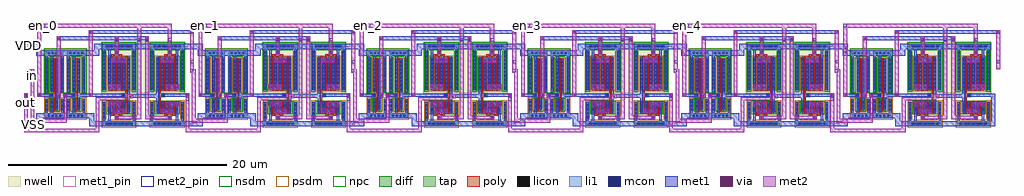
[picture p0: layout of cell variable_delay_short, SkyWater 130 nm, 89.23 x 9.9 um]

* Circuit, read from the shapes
.subckt variable_delay_short VDD VSS en_0 en_1 en_2 en_3 en_4 in out
XM1 variable_delay_unit_5/tristate_inverter_0/en en_0 VSS VSS sky130_fd_pr__nfet_01v8 w=1 l=0.15
XM2 variable_delay_unit_5/forward in VSS VSS sky130_fd_pr__nfet_01v8 w=1 l=0.15
XM3 n1 en_0 VSS VSS sky130_fd_pr__nfet_01v8 w=1 l=0.15 m=3
XM4 out variable_delay_unit_5/forward n1 VSS sky130_fd_pr__nfet_01v8 w=1 l=0.15
XM5 n2 variable_delay_unit_5/back out VSS sky130_fd_pr__nfet_01v8 w=1 l=0.15
XM6 VSS variable_delay_unit_5/tristate_inverter_0/en n2 VSS sky130_fd_pr__nfet_01v8 w=1 l=0.15 m=3
XM7 variable_delay_unit_4/tristate_inverter_0/en en_1 VSS VSS sky130_fd_pr__nfet_01v8 w=1 l=0.15
XM8 variable_delay_unit_4/forward variable_delay_unit_5/forward VSS VSS sky130_fd_pr__nfet_01v8 w=1 l=0.15
XM9 n3 en_1 VSS VSS sky130_fd_pr__nfet_01v8 w=1 l=0.15 m=3
XM10 variable_delay_unit_5/back variable_delay_unit_4/forward n3 VSS sky130_fd_pr__nfet_01v8 w=1 l=0.15
XM11 n4 variable_delay_unit_4/back variable_delay_unit_5/back VSS sky130_fd_pr__nfet_01v8 w=1 l=0.15
XM12 VSS variable_delay_unit_4/tristate_inverter_0/en n4 VSS sky130_fd_pr__nfet_01v8 w=1 l=0.15 m=3
XM13 variable_delay_unit_3/tristate_inverter_0/en en_2 VSS VSS sky130_fd_pr__nfet_01v8 w=1 l=0.15
XM14 variable_delay_unit_3/forward variable_delay_unit_4/forward VSS VSS sky130_fd_pr__nfet_01v8 w=1 l=0.15
XM15 n5 en_2 VSS VSS sky130_fd_pr__nfet_01v8 w=1 l=0.15 m=3
XM16 variable_delay_unit_4/back variable_delay_unit_3/forward n5 VSS sky130_fd_pr__nfet_01v8 w=1 l=0.15
XM17 n6 variable_delay_unit_3/back variable_delay_unit_4/back VSS sky130_fd_pr__nfet_01v8 w=1 l=0.15
XM18 VSS variable_delay_unit_3/tristate_inverter_0/en n6 VSS sky130_fd_pr__nfet_01v8 w=1 l=0.15 m=3
XM19 variable_delay_unit_2/tristate_inverter_0/en en_3 VSS VSS sky130_fd_pr__nfet_01v8 w=1 l=0.15
XM20 variable_delay_unit_2/forward variable_delay_unit_3/forward VSS VSS sky130_fd_pr__nfet_01v8 w=1 l=0.15
XM21 n7 en_3 VSS VSS sky130_fd_pr__nfet_01v8 w=1 l=0.15 m=3
XM22 variable_delay_unit_3/back variable_delay_unit_2/forward n7 VSS sky130_fd_pr__nfet_01v8 w=1 l=0.15
XM23 n8 variable_delay_unit_2/back variable_delay_unit_3/back VSS sky130_fd_pr__nfet_01v8 w=1 l=0.15
XM24 VSS variable_delay_unit_2/tristate_inverter_0/en n8 VSS sky130_fd_pr__nfet_01v8 w=1 l=0.15 m=3
XM25 variable_delay_unit_1/tristate_inverter_0/en en_4 VSS VSS sky130_fd_pr__nfet_01v8 w=1 l=0.15
XM26 variable_delay_unit_1/forward variable_delay_unit_2/forward VSS VSS sky130_fd_pr__nfet_01v8 w=1 l=0.15
XM27 n9 en_4 VSS VSS sky130_fd_pr__nfet_01v8 w=1 l=0.15 m=3
XM28 variable_delay_unit_2/back variable_delay_unit_1/forward n9 VSS sky130_fd_pr__nfet_01v8 w=1 l=0.15
XM29 n10 variable_delay_unit_1/back variable_delay_unit_2/back VSS sky130_fd_pr__nfet_01v8 w=1 l=0.15
XM30 VSS variable_delay_unit_1/tristate_inverter_0/en n10 VSS sky130_fd_pr__nfet_01v8 w=1 l=0.15 m=3
XM31 variable_delay_unit_0/tristate_inverter_0/en VDD VSS VSS sky130_fd_pr__nfet_01v8 w=1 l=0.15
XM32 variable_delay_unit_0/forward variable_delay_unit_1/forward VSS VSS sky130_fd_pr__nfet_01v8 w=1 l=0.15
XM33 n11 VDD VSS VSS sky130_fd_pr__nfet_01v8 w=1 l=0.15 m=3
XM34 variable_delay_unit_1/back variable_delay_unit_0/forward n11 VSS sky130_fd_pr__nfet_01v8 w=1 l=0.15
XM35 n12 VSS variable_delay_unit_1/back VSS sky130_fd_pr__nfet_01v8 w=1 l=0.15
XM36 VSS variable_delay_unit_0/tristate_inverter_0/en n12 VSS sky130_fd_pr__nfet_01v8 w=1 l=0.15 m=3
XM37 variable_delay_unit_5/tristate_inverter_0/en en_0 VDD VDD sky130_fd_pr__pfet_01v8 w=3 l=0.15
XM38 variable_delay_unit_5/forward in VDD VDD sky130_fd_pr__pfet_01v8 w=3 l=0.15
XM39 n13 variable_delay_unit_5/tristate_inverter_0/en VDD VDD sky130_fd_pr__pfet_01v8 w=3 l=0.15 m=3
XM40 out variable_delay_unit_5/forward n13 VDD sky130_fd_pr__pfet_01v8 w=3 l=0.15
XM41 n14 variable_delay_unit_5/back out VDD sky130_fd_pr__pfet_01v8 w=3 l=0.15
XM42 VDD en_0 n14 VDD sky130_fd_pr__pfet_01v8 w=3 l=0.15 m=3
XM43 variable_delay_unit_4/tristate_inverter_0/en en_1 VDD VDD sky130_fd_pr__pfet_01v8 w=3 l=0.15
XM44 variable_delay_unit_4/forward variable_delay_unit_5/forward VDD VDD sky130_fd_pr__pfet_01v8 w=3 l=0.15
XM45 n15 variable_delay_unit_4/tristate_inverter_0/en VDD VDD sky130_fd_pr__pfet_01v8 w=3 l=0.15 m=3
XM46 variable_delay_unit_5/back variable_delay_unit_4/forward n15 VDD sky130_fd_pr__pfet_01v8 w=3 l=0.15
XM47 n16 variable_delay_unit_4/back variable_delay_unit_5/back VDD sky130_fd_pr__pfet_01v8 w=3 l=0.15
XM48 VDD en_1 n16 VDD sky130_fd_pr__pfet_01v8 w=3 l=0.15 m=3
XM49 variable_delay_unit_3/tristate_inverter_0/en en_2 VDD VDD sky130_fd_pr__pfet_01v8 w=3 l=0.15
XM50 variable_delay_unit_3/forward variable_delay_unit_4/forward VDD VDD sky130_fd_pr__pfet_01v8 w=3 l=0.15
XM51 n17 variable_delay_unit_3/tristate_inverter_0/en VDD VDD sky130_fd_pr__pfet_01v8 w=3 l=0.15 m=3
XM52 variable_delay_unit_4/back variable_delay_unit_3/forward n17 VDD sky130_fd_pr__pfet_01v8 w=3 l=0.15
XM53 n18 variable_delay_unit_3/back variable_delay_unit_4/back VDD sky130_fd_pr__pfet_01v8 w=3 l=0.15
XM54 VDD en_2 n18 VDD sky130_fd_pr__pfet_01v8 w=3 l=0.15 m=3
XM55 variable_delay_unit_2/tristate_inverter_0/en en_3 VDD VDD sky130_fd_pr__pfet_01v8 w=3 l=0.15
XM56 variable_delay_unit_2/forward variable_delay_unit_3/forward VDD VDD sky130_fd_pr__pfet_01v8 w=3 l=0.15
XM57 n19 variable_delay_unit_2/tristate_inverter_0/en VDD VDD sky130_fd_pr__pfet_01v8 w=3 l=0.15 m=3
XM58 variable_delay_unit_3/back variable_delay_unit_2/forward n19 VDD sky130_fd_pr__pfet_01v8 w=3 l=0.15
XM59 n20 variable_delay_unit_2/back variable_delay_unit_3/back VDD sky130_fd_pr__pfet_01v8 w=3 l=0.15
XM60 VDD en_3 n20 VDD sky130_fd_pr__pfet_01v8 w=3 l=0.15 m=3
XM61 variable_delay_unit_1/tristate_inverter_0/en en_4 VDD VDD sky130_fd_pr__pfet_01v8 w=3 l=0.15
XM62 variable_delay_unit_1/forward variable_delay_unit_2/forward VDD VDD sky130_fd_pr__pfet_01v8 w=3 l=0.15
XM63 n21 variable_delay_unit_1/tristate_inverter_0/en VDD VDD sky130_fd_pr__pfet_01v8 w=3 l=0.15 m=3
XM64 variable_delay_unit_2/back variable_delay_unit_1/forward n21 VDD sky130_fd_pr__pfet_01v8 w=3 l=0.15
XM65 n22 variable_delay_unit_1/back variable_delay_unit_2/back VDD sky130_fd_pr__pfet_01v8 w=3 l=0.15
XM66 VDD en_4 n22 VDD sky130_fd_pr__pfet_01v8 w=3 l=0.15 m=3
XM67 variable_delay_unit_0/tristate_inverter_0/en VDD VDD VDD sky130_fd_pr__pfet_01v8 w=3 l=0.15
XM68 variable_delay_unit_0/forward variable_delay_unit_1/forward VDD VDD sky130_fd_pr__pfet_01v8 w=3 l=0.15
XM69 n23 variable_delay_unit_0/tristate_inverter_0/en VDD VDD sky130_fd_pr__pfet_01v8 w=3 l=0.15 m=3
XM70 variable_delay_unit_1/back variable_delay_unit_0/forward n23 VDD sky130_fd_pr__pfet_01v8 w=3 l=0.15
XM71 n24 VSS variable_delay_unit_1/back VDD sky130_fd_pr__pfet_01v8 w=3 l=0.15
XM72 VDD VDD n24 VDD sky130_fd_pr__pfet_01v8 w=3 l=0.15 m=3
.ends

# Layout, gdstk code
from math import pi, radians
import gdstk
lib = gdstk.Library(unit=1e-6, precision=1e-09)
def R(c, l, rs):  # rectangles x0, y0, x1, y1
    for r in rs: c.add(gdstk.rectangle(r[:2], r[2:], *l))
def A(c, l, x, y, w, h, nx, ny, dx, dy):  # array of equal rectangles
    R(c, l, [(x+i*dx, y+j*dy, x+i*dx+w, y+j*dy+h) for i in range(nx) for j in range(ny)])
nwell = (64, 20)
diff = (65, 20)
tap = (65, 44)
poly = (66, 20)
licon = (66, 44)
li1 = (67, 20)
mcon = (67, 44)
met1_pin = (68, 16)
met1 = (68, 20)
via = (68, 44)
met2_pin = (69, 16)
met2 = (69, 20)
nsdm = (93, 44)
psdm = (94, 20)
npc = (95, 20)

sky130_fd_pr__pfet_01v8_ = lib.new_cell('sky130_fd_pr__pfet_01v8_2K9SAN')
R(sky130_fd_pr__pfet_01v8_, nwell, [(-0.545,-1.81,0.545,1.81)])
R(sky130_fd_pr__pfet_01v8_, diff, [(-0.365,-1.5,0.365,1.5)])
R(sky130_fd_pr__pfet_01v8_, poly, [(-0.075,-1.63,0.075,1.63)])
A(sky130_fd_pr__pfet_01v8_, licon, -0.305, -1.275, 0.17, 0.17, 1, 8, 0, 0.34)
A(sky130_fd_pr__pfet_01v8_, licon, 0.135, -1.275, 0.17, 0.17, 1, 8, 0, 0.34)
R(sky130_fd_pr__pfet_01v8_, li1, [(-0.305,-1.52,-0.135,1.52), (0.135,-1.52,0.305,1.52)])
A(sky130_fd_pr__pfet_01v8_, mcon, -0.305, -1.345, 0.17, 0.17, 1, 8, 0, 0.36)
A(sky130_fd_pr__pfet_01v8_, mcon, 0.135, -1.345, 0.17, 0.17, 1, 8, 0, 0.36)
R(sky130_fd_pr__pfet_01v8_, met1, [(-0.335,-1.5,-0.105,1.5), (0.105,-1.5,0.335,1.5)])
R(sky130_fd_pr__pfet_01v8_, psdm, [(-0.49,-1.625,0.49,1.625)])

sky130_fd_pr__nfet_01v8_ = lib.new_cell('sky130_fd_pr__nfet_01v8_6H9P4D')
R(sky130_fd_pr__nfet_01v8_, diff, [(-0.365,-0.5,0.365,0.5)])
R(sky130_fd_pr__nfet_01v8_, poly, [(-0.075,-0.63,0.075,0.63)])
A(sky130_fd_pr__nfet_01v8_, licon, -0.305, -0.425, 0.17, 0.17, 1, 3, 0, 0.34)
A(sky130_fd_pr__nfet_01v8_, licon, 0.135, -0.425, 0.17, 0.17, 1, 3, 0, 0.34)
R(sky130_fd_pr__nfet_01v8_, li1, [(-0.305,-0.52,-0.135,0.52), (0.135,-0.52,0.305,0.52)])
R(sky130_fd_pr__nfet_01v8_, mcon, [(-0.305,-0.265,-0.135,-0.095), (0.135,-0.265,0.305,-0.095), (-0.305,0.095,-0.135,0.265), (0.135,0.095,0.305,0.265)])
R(sky130_fd_pr__nfet_01v8_, met1, [(-0.335,-0.5,-0.105,0.5), (0.105,-0.5,0.335,0.5)])
R(sky130_fd_pr__nfet_01v8_, nsdm, [(-0.49,-0.625,0.49,0.625)])

tristate_inverter = lib.new_cell('tristate_inverter')
R(tristate_inverter, nwell, [(3.6,3.14,4.04,6.76), (6.45,3.14,7.29,6.76), (3.6,6.76,7.29,7.85)])
R(tristate_inverter, tap, [(3.78,0.11,6.71,0.59), (3.78,0.59,3.95,2.37), (6.54,0.59,6.71,2.37), (3.78,3.43,3.95,7.19), (6.54,3.43,6.71,7.19), (3.78,7.19,6.71,7.67)])
R(tristate_inverter, poly, [(4.84,0.78,5.21,1.07), (4.51,1.07,5.54,1.22), (5.83,2.48,5.98,2.81), (5.44,2.81,5.98,3.1), (5.83,3.1,5.98,3.32), (4.51,6.58,5.54,6.73), (4.85,6.73,5.22,7.02)])
A(tristate_inverter, licon, 3.97, 0.265, 0.17, 0.17, 8, 2, 0.34, 7.08)
A(tristate_inverter, licon, 3.78, 0.91, 0.17, 0.17, 1, 4, 0, 0.34)
A(tristate_inverter, licon, 6.54, 0.91, 0.17, 0.17, 1, 4, 0, 0.34)
A(tristate_inverter, licon, 3.78, 3.67, 0.17, 0.17, 1, 10, 0, 0.34)
A(tristate_inverter, licon, 6.54, 3.67, 0.17, 0.17, 1, 10, 0, 0.34)
R(tristate_inverter, licon, [(4.94,0.84,5.11,1.01), (5.54,2.87,5.71,3.04), (4.95,6.79,5.12,6.96)])
R(tristate_inverter, li1, [(3.78,0.11,6.71,0.59), (3.78,0.59,3.95,2.37), (6.54,0.59,6.71,2.37), (4.84,0.78,5.21,1.07), (5.44,2.81,5.81,3.1), (3.78,3.43,3.95,7.19), (6.54,3.43,6.71,7.19), (4.85,6.73,5.22,7.02), (3.78,7.19,6.71,7.67)])
A(tristate_inverter, mcon, 4.08, 0.265, 0.17, 0.17, 7, 2, 0.36, 7.08)
A(tristate_inverter, mcon, 3.78, 0.88, 0.17, 0.17, 1, 4, 0, 0.36)
A(tristate_inverter, mcon, 6.54, 0.88, 0.17, 0.17, 1, 4, 0, 0.36)
A(tristate_inverter, mcon, 3.78, 3.58, 0.17, 0.17, 1, 10, 0, 0.36)
A(tristate_inverter, mcon, 6.54, 3.58, 0.17, 0.17, 1, 10, 0, 0.36)
R(tristate_inverter, mcon, [(4.94,0.84,5.11,1.01), (5.54,2.87,5.71,3.04), (4.95,6.79,5.12,6.96)])
R(tristate_inverter, met1_pin, [(3.6,0.3,3.89,0.59), (6.5,2.75,6.79,3.04), (4.65,2.81,4.94,3.1), (3.6,7.38,3.89,7.67)])
R(tristate_inverter, met1, [(3.6,0.11,7.29,0.59), (3.75,0.59,3.98,2.37), (4.25,0.59,4.48,1.35), (6.51,0.59,6.74,2.37), (4.84,0.75,5.21,1.1), (4.65,1.35,4.96,1.72), (5.53,1.35,5.84,1.72), (4.21,1.98,4.52,2.35), (5.09,1.98,5.4,2.35), (6.01,2.35,6.24,2.75), (6.01,2.75,7.29,3.04), (4.65,2.81,5.81,3.1), (6.01,3.04,6.24,3.45), (3.75,3.43,3.98,7.19), (6.51,3.43,6.74,7.19), (4.21,3.45,4.52,3.97), (5.09,3.45,5.4,3.97), (4.65,5.93,4.96,6.45), (5.53,5.93,5.84,6.45), (4.25,6.45,4.48,7.19), (4.85,6.7,5.22,7.05), (3.6,7.19,7.29,7.67)])
R(tristate_inverter, via, [(4.95,0.85,5.1,1), (4.73,1.46,4.88,1.61), (5.61,1.46,5.76,1.61), (4.29,2.09,4.44,2.24), (5.17,2.09,5.32,2.24), (4.29,3.635,4.44,3.785), (5.17,3.635,5.32,3.785), (4.73,6.115,4.88,6.265), (5.61,6.115,5.76,6.265), (4.96,6.8,5.11,6.95)])
R(tristate_inverter, met2_pin, [(4.85,7.9,5.14,8.19), (6.92,7.9,7.21,8.19)])
R(tristate_inverter, met2, [(4.84,0.75,7.27,1.1), (6.92,1.1,7.27,8.19), (4.65,1.35,5.84,1.72), (4.21,1.98,5.4,2.35), (4.21,3.45,5.4,3.97), (4.65,5.93,5.84,6.45), (4.85,6.7,5.22,8.19)])
R(tristate_inverter, nsdm, [(3.655,3.305,4.075,7.065), (6.415,3.305,6.835,7.065), (3.655,7.065,6.835,7.795)])
R(tristate_inverter, psdm, [(3.655,-0.015,6.835,0.715), (3.655,0.715,4.075,2.495), (6.415,0.715,6.835,2.495)])
R(tristate_inverter, npc, [(4.84,0.74,5.21,1.11), (5.44,2.77,5.81,3.14), (4.85,6.69,5.22,7.06)])
tristate_inverter.add(gdstk.Reference(sky130_fd_pr__pfet_01v8_, (5.905,4.95)))
tristate_inverter.add(gdstk.Reference(sky130_fd_pr__pfet_01v8_, (5.465,4.95)))
tristate_inverter.add(gdstk.Reference(sky130_fd_pr__pfet_01v8_, (5.025,4.95)))
tristate_inverter.add(gdstk.Reference(sky130_fd_pr__pfet_01v8_, (4.585,4.95)))
tristate_inverter.add(gdstk.Reference(sky130_fd_pr__nfet_01v8_, (5.905,1.85)))
tristate_inverter.add(gdstk.Reference(sky130_fd_pr__nfet_01v8_, (5.465,1.85)))
tristate_inverter.add(gdstk.Reference(sky130_fd_pr__nfet_01v8_, (5.025,1.85)))
tristate_inverter.add(gdstk.Reference(sky130_fd_pr__nfet_01v8_, (4.585,1.85)))
tristate_inverter.add(gdstk.Label('in', (4.795,2.955), layer=68, texttype=5))
tristate_inverter.add(gdstk.Label('en', (7.065,8.045), layer=69, texttype=5))
tristate_inverter.add(gdstk.Label('nen', (4.995,8.045), layer=69, texttype=5))
tristate_inverter.add(gdstk.Label('out', (6.645,2.895), layer=68, texttype=5))
tristate_inverter.add(gdstk.Label('VDD', (3.745,7.525), layer=68, texttype=5))
tristate_inverter.add(gdstk.Label('VSS', (3.745,0.445), layer=68, texttype=5))

inverter_3_1 = lib.new_cell('inverter_3_1')
R(inverter_3_1, nwell, [(0.15,1.15,0.6,4.77), (1.69,1.15,2.14,1.44), (1.64,1.44,2.14,4.48), (1.69,4.48,2.14,4.77), (0.15,4.77,2.14,5.43)])
R(inverter_3_1, tap, [(0.33,-0.98,1.96,-0.5), (0.33,-0.5,0.51,0.83), (1.78,-0.5,1.96,0.83), (0.33,1.44,0.51,4.77), (1.78,1.44,1.96,4.77), (0.33,4.77,1.96,5.25)])
R(inverter_3_1, poly, [(1.07,0.94,1.22,1), (0.68,1,1.22,1.27), (1.07,1.27,1.22,1.33)])
A(inverter_3_1, licon, 0.55, -0.825, 0.17, 0.17, 4, 2, 0.34, 5.75)
A(inverter_3_1, licon, 0.335, -0.23, 0.17, 0.17, 1, 3, 0, 0.34)
A(inverter_3_1, licon, 1.785, -0.23, 0.17, 0.17, 1, 3, 0, 0.34)
A(inverter_3_1, licon, 0.335, 1.635, 0.17, 0.17, 1, 9, 0, 0.34)
A(inverter_3_1, licon, 1.785, 1.635, 0.17, 0.17, 1, 9, 0, 0.34)
R(inverter_3_1, licon, [(0.77,1.05,0.94,1.22)])
R(inverter_3_1, li1, [(0.33,-0.98,1.96,-0.5), (0.33,-0.5,0.51,0.83), (1.78,-0.5,1.96,0.83), (0.68,1,1.03,1.27), (0.33,1.44,0.51,4.77), (1.78,1.44,1.96,4.77), (0.33,4.77,1.96,5.25)])
A(inverter_3_1, mcon, 0.52, -0.825, 0.17, 0.17, 4, 2, 0.36, 5.75)
A(inverter_3_1, mcon, 0.335, -0.25, 0.17, 0.17, 1, 3, 0, 0.36)
A(inverter_3_1, mcon, 1.785, -0.25, 0.17, 0.17, 1, 3, 0, 0.36)
A(inverter_3_1, mcon, 0.335, 1.735, 0.17, 0.17, 1, 8, 0, 0.36)
A(inverter_3_1, mcon, 1.785, 1.735, 0.17, 0.17, 1, 8, 0, 0.36)
R(inverter_3_1, mcon, [(0.77,1.05,0.94,1.22)])
R(inverter_3_1, met1, [(0.15,-0.98,2.14,-0.5), (0.3,-0.5,0.54,0.83), (0.81,-0.5,1.04,-0.19), (1.75,-0.5,1.99,0.83), (1.25,0.81,1.48,1.46), (0.68,1,1.03,1.27), (0.3,1.44,0.54,4.77), (1.75,1.44,1.99,4.77), (0.81,4.46,1.04,4.77), (0.15,4.77,2.14,5.25)])
R(inverter_3_1, nsdm, [(0.205,1.315,0.635,4.645), (1.655,1.315,2.085,4.645), (0.205,4.645,2.085,5.375)])
R(inverter_3_1, psdm, [(0.205,-1.105,2.085,-0.375), (0.205,-0.375,0.635,0.955), (1.655,-0.375,2.085,0.955)])
R(inverter_3_1, npc, [(0.67,0.95,1.04,1.32)])
inverter_3_1.add(gdstk.Reference(sky130_fd_pr__pfet_01v8_, (1.145,2.96)))
inverter_3_1.add(gdstk.Reference(sky130_fd_pr__nfet_01v8_, (1.145,0.31)))

variable_delay_unit = lib.new_cell('variable_delay_unit')
R(variable_delay_unit, nwell, [(3.3,3.03,4.02,7.74)])
R(variable_delay_unit, met1_pin, [(-6.56,0,-6.27,0.29), (7.77,2.7,8.06,2.99), (-7.03,7.27,-6.74,7.56)])
R(variable_delay_unit, met1, [(-7.03,0,-5.41,0.48), (-1.08,0,0.03,0.48), (3.3,0,4.02,0.48), (-5.89,0.48,-5.41,0.73), (-1.08,0.48,-0.6,0.73), (-5.89,0.73,-5.24,1.21), (-1.26,0.73,-0.6,1.21), (2.42,2.57,2.94,2.66), (3.3,2.64,4.02,2.93), (2.45,2.66,2.91,2.88), (-4.04,2.68,-3.67,3.01), (-3.44,2.68,-3.07,2.71), (-7,2.7,-6.67,3.03), (-1.92,2.7,1.06,2.99), (6.66,2.7,8.06,2.99), (-5.81,2.71,-4.71,2.98), (-3.44,2.71,-2.72,2.98), (-5.81,2.98,-5.46,3.04), (-3.44,2.98,-3.07,3.01), (-1.11,2.99,-0.76,3.03), (-5.89,6.48,-5.24,6.96), (-1.26,6.48,-0.14,6.96), (-5.89,6.96,-5.41,7.08), (-0.62,6.96,-0.14,7.08), (-7.03,7.08,-5.41,7.56), (-0.62,7.08,0.01,7.56), (3.3,7.08,4.02,7.56), (-4.04,7.88,4.39,8.23), (-1.11,8.46,8.5,8.81)])
R(variable_delay_unit, via, [(2.605,2.675,2.755,2.825), (-3.93,2.77,-3.78,2.92), (-3.33,2.77,-3.18,2.92), (-6.91,2.79,-6.76,2.94), (-1.01,2.79,-0.86,2.94), (-5.71,2.8,-5.56,2.95), (-3.93,7.98,-3.78,8.13), (1.37,7.98,1.52,8.13), (4.14,7.98,4.29,8.13), (8.25,8.56,8.4,8.71), (-1.01,8.565,-0.86,8.715)])
R(variable_delay_unit, met2_pin, [(-7,2.36,-6.71,2.65), (-6.59,4.96,-6.3,5.25), (8.21,5.77,8.5,6.06), (-5.81,9.09,-5.52,9.38)])
R(variable_delay_unit, met2, [(-7,-0.52,-0.13,-0.19), (-7,-0.19,-6.67,3.03), (-0.46,-0.19,-0.13,2.38), (-6.42,0.36,-3.13,0.69), (-6.42,0.69,-6.09,4.92), (-3.37,0.69,-3.13,2.68), (-0.46,2.38,2.65,2.57), (-0.46,2.57,2.94,2.67), (2.42,2.67,2.94,2.93), (-4.04,2.68,-3.67,8.23), (-3.44,2.68,-3.07,3.01), (-1.11,2.7,-0.76,8.81), (-5.81,2.71,-5.46,9.03), (-6.59,4.92,-6.09,5.25), (8.15,5.25,8.5,8.81), (1.26,7.88,1.63,8.23), (4.04,7.88,4.39,8.23), (3.33,8.08,3.68,9.03), (6.09,8.08,6.46,9.03), (-5.81,9.03,6.46,9.38)])
R(variable_delay_unit, nsdm, [(-3.305,3.025,-3.195,7.085)])
R(variable_delay_unit, psdm, [(-3.305,0.605,-3.195,2.665)])
variable_delay_unit.add(gdstk.Reference(tristate_inverter, (11.31,-0.11), rotation=pi, x_reflection=True))
variable_delay_unit.add(gdstk.Reference(tristate_inverter, (-3.59,-0.11)))
variable_delay_unit.add(gdstk.Reference(inverter_3_1, (-5.39,1.71)))
variable_delay_unit.add(gdstk.Reference(inverter_3_1, (-3.4,1.71)))
variable_delay_unit.add(gdstk.Label('in', (-6.445,5.105), layer=69, texttype=5))
variable_delay_unit.add(gdstk.Label('en', (-5.665,9.235), layer=69, texttype=5))
variable_delay_unit.add(gdstk.Label('back', (7.915,2.845), layer=68, texttype=5))
variable_delay_unit.add(gdstk.Label('forward', (8.355,5.915), layer=69, texttype=5))
variable_delay_unit.add(gdstk.Label('out', (-6.855,2.505), layer=69, texttype=5))
variable_delay_unit.add(gdstk.Label('VDD', (-6.885,7.415), layer=68, texttype=5))
variable_delay_unit.add(gdstk.Label('VSS', (-6.415,0.145), layer=68, texttype=5))

variable_delay_short = lib.new_cell('variable_delay_short')
R(variable_delay_short, met1_pin, [(0.73,0.52,1.02,0.81), (0.26,7.79,0.55,8.08)])
R(variable_delay_short, met1, [(0.73,0.52,1.02,0.81), (88.41,0.52,88.76,3.22), (74.93,7.18,75.2,7.79), (0.26,7.79,0.55,8.08)])
R(variable_delay_short, via, [(74.99,7.25,75.14,7.4), (74.99,7.57,75.14,7.72)])
R(variable_delay_short, met2_pin, [(0,2.59,0.29,2.88), (0.58,5.04,0.87,5.33), (1.61,9.61,1.9,9.9), (16.4,9.61,16.69,9.9), (31.33,9.61,31.62,9.9), (45.9,9.61,46.19,9.9), (60.44,9.61,60.73,9.9)])
R(variable_delay_short, met2, [(0,2.59,0.29,2.88), (0.58,5.04,0.87,5.33), (74.93,7.18,75.2,7.79), (1.61,9.61,1.9,9.9), (16.4,9.61,16.69,9.9), (31.33,9.61,31.62,9.9), (45.9,9.61,46.19,9.9), (60.44,9.61,60.73,9.9)])
variable_delay_short.add(gdstk.Reference(variable_delay_unit, (80.7,0.52)))
variable_delay_short.add(gdstk.Reference(variable_delay_unit, (65.96,0.52)))
variable_delay_short.add(gdstk.Reference(variable_delay_unit, (51.22,0.52)))
variable_delay_short.add(gdstk.Reference(variable_delay_unit, (36.48,0.52)))
variable_delay_short.add(gdstk.Reference(variable_delay_unit, (21.74,0.52)))
variable_delay_short.add(gdstk.Reference(variable_delay_unit, (7,0.52)))
variable_delay_short.add(gdstk.Label('in', (0.725,5.185), layer=69, texttype=5))
variable_delay_short.add(gdstk.Label('en_0', (1.755,9.755), layer=69, texttype=5))
variable_delay_short.add(gdstk.Label('en_1', (16.545,9.755), layer=69, texttype=5))
variable_delay_short.add(gdstk.Label('en_2', (31.475,9.755), layer=69, texttype=5))
variable_delay_short.add(gdstk.Label('en_3', (46.045,9.755), layer=69, texttype=5))
variable_delay_short.add(gdstk.Label('en_4', (60.585,9.755), layer=69, texttype=5))
variable_delay_short.add(gdstk.Label('out', (0.145,2.735), layer=69, texttype=5))
variable_delay_short.add(gdstk.Label('VDD', (0.405,7.935), layer=68, texttype=5))
variable_delay_short.add(gdstk.Label('VSS', (0.875,0.665), layer=68, texttype=5))

lib.write_gds('variable_delay_short.gds')
